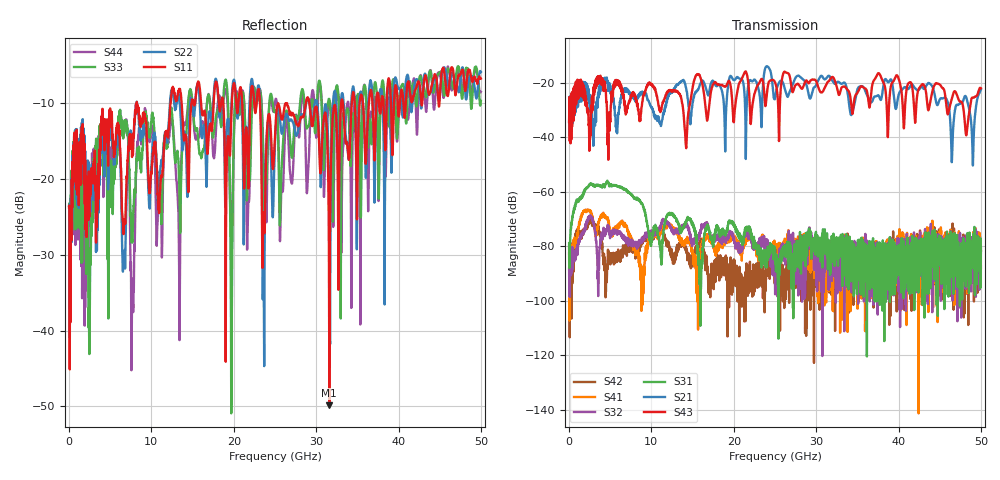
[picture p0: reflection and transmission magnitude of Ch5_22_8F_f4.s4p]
!Agilent Technologies,N5247A,US51170199,A.09.90.13
!Agilent N5247A: A.09.90.13
!Date: Wednesday, December 09, 2015 09:52:28
!Correction: S11(Full 4 Port(1,2,3,4))
!S12(Full 4 Port(1,2,3,4))
!S13(Full 4 Port(1,2,3,4))
!S14(Full 4 Port(1,2,3,4))
!S21(Full 4 Port(1,2,3,4))
!S22(Full 4 Port(1,2,3,4))
!S23(Full 4 Port(1,2,3,4))
!S24(Full 4 Port(1,2,3,4))
!S31(Full 4 Port(1,2,3,4))
!S32(Full 4 Port(1,2,3,4))
!S33(Full 4 Port(1,2,3,4))
!S34(Full 4 Port(1,2,3,4))
!S41(Full 4 Port(1,2,3,4))
!S42(Full 4 Port(1,2,3,4))
!S43(Full 4 Port(1,2,3,4))
!S44(Full 4 Port(1,2,3,4))
!S4P File: Measurements: <S11,S12,S13,S14>,
!<S21,S22,S23,S24>,
!<S31,S32,S33,S34>,
!<S41,S42,S43,S44>:
# Hz S  dB  R 50
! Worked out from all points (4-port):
!   3201 points, 10 MHz to 50 GHz, reference 50 ohm
!   strongest paths, dB at 10 MHz, 12.51 GHz, 25 GHz, 37.5 GHz, 50 GHz:
!     S43: -34.4, -23.2, -19.8, -16.6, -22.0
!     S21: -34.5, -23.5, -25.9, -24.6, -22.5
!     S31: -79.0, -68.3, -81.1, -78.8, -80.9
!     S32: -88.2, -74.7, -90.0, -85.6, -81.0
!     S41: -80.3, -73.8, -81.0, -93.1, -88.2
!     S42: -82.7, -84.9, -88.0, -90.3, -81.6
!   lowest |S11| = -49.9 dB at 31.6 GHz (marker M1), VSWR 1.01, Z = 49.9 + j0.303 ohm
!   |S11| at or under -10 dB: start of sweep to 8.216 GHz; 8.246 GHz to 12.34 GHz (4.09 GHz wide, 39.7 % of centre); 29.18 GHz to 33.03 GHz (3.855 GHz wide, 12.4 % of centre)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
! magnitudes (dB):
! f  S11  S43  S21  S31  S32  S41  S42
! 10 MHz  -23.8  -34.4  -34.5  -79.0  -88.2  -80.3  -82.7
! 4.618 GHz  -12.1  -31.9  -19.4  -56.2  -73.8  -70.2  -87.4
! 11.13 GHz  -20.1  -29.7  -35.8  -83.6  -72.5  -75.2  -74.4
! 31.6 GHz  -49.9  -19.3  -17.5  -80.0  -83.9  -86.9  -84.4
! 43.78 GHz  -8.6  -28.2  -20.3  -77.9  -84.5  -73.2  -76.4
! 46.5 GHz  -5.2  -25.6  -47.0  -91.4  -80.2  -94.2  -86.2
! 50 GHz  -6.7  -22.0  -22.5  -80.9  -81.0  -88.2  -81.6
